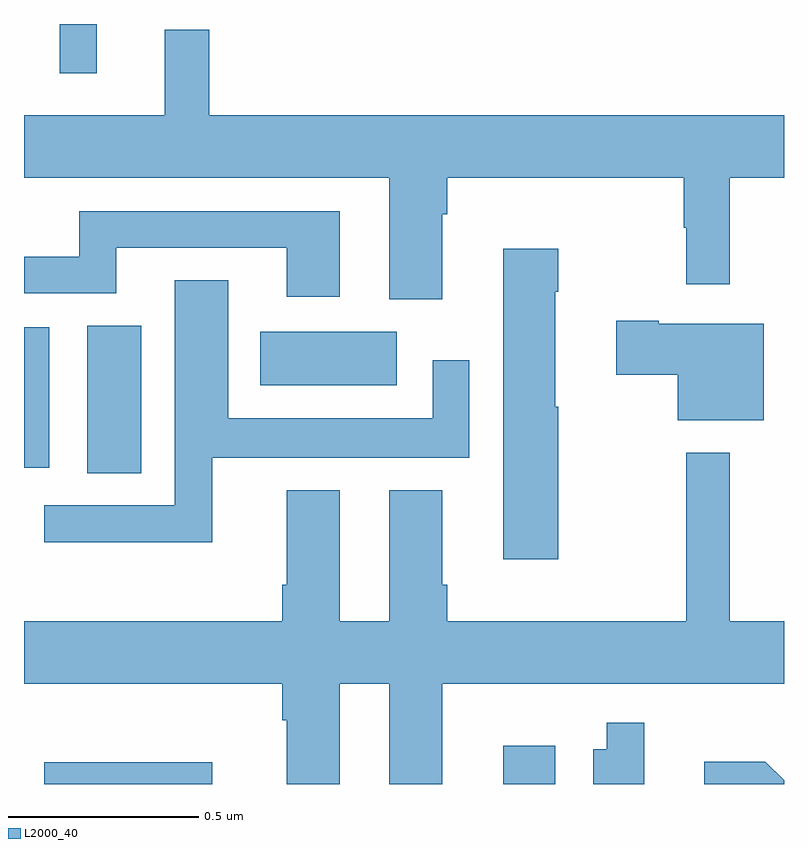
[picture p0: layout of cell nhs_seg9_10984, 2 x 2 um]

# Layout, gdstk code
import gdstk
lib = gdstk.Library(unit=1e-6, precision=1e-09)
def R(c, l, rs):  # rectangles x0, y0, x1, y1
    for r in rs: c.add(gdstk.rectangle(r[:2], r[2:], *l))
def P(c, l, *ps):  # polygons
    for p in ps: c.add(gdstk.Polygon(p, *l))
L2000_40 = (2000, 40)

nhs_seg9_10984 = lib.new_cell('nhs_seg9_10984')
R(nhs_seg9_10984, L2000_40, [(250.053,1185.5,250.496,1185.557), (251.261,1185.5,251.398,1185.601), (250.166,1186.318,250.309,1186.706), (250,1186.332,250.066,1186.702), (250.622,1186.55,250.981,1186.69), (250.094,1187.37,250.191,1187.5)])
P(nhs_seg9_10984, L2000_40, [(251.101,1187),(251.114,1187),(251.114,1187.096),(251.736,1187.096),(251.736,1186.964),(251.743,1186.964),(251.743,1186.815),(251.857,1186.815),(251.857,1187.096),(252,1187.096),(252,1187.26),(250.487,1187.26),(250.487,1187.485),(250.37,1187.485),(250.37,1187.26),(250,1187.26),(250,1187.096),(250.961,1187.096),(250.961,1186.776),(251.101,1186.776)],
  [(250.831,1187.007),(250.145,1187.007),(250.145,1186.887),(250,1186.887),(250,1186.791),(250.243,1186.791),(250.243,1186.911),(250.691,1186.911),(250.691,1186.782),(250.831,1186.782)],
  [(251.406,1186.493),(251.398,1186.493),(251.398,1186.796),(251.406,1186.796),(251.406,1186.909),(251.261,1186.909),(251.261,1186.092),(251.406,1186.092)],
  [(250.496,1186.358),(251.172,1186.358),(251.172,1186.615),(251.076,1186.615),(251.076,1186.462),(250.537,1186.462),(250.537,1186.826),(250.397,1186.826),(250.397,1186.233),(250.053,1186.233),(250.053,1186.136),(250.496,1186.136)],
  [(251.947,1186.711),(251.671,1186.711),(251.671,1186.719),(251.559,1186.719),(251.559,1186.577),(251.72,1186.577),(251.72,1186.457),(251.947,1186.457)],
  [(250.831,1185.764),(250.961,1185.764),(250.961,1185.5),(251.101,1185.5),(251.101,1185.764),(252,1185.764),(252,1185.928),(251.857,1185.928),(251.857,1186.372),(251.743,1186.372),(251.743,1185.928),(251.114,1185.928),(251.114,1186.024),(251.101,1186.024),(251.101,1186.273),(250.961,1186.273),(250.961,1185.928),(250.831,1185.928),(250.831,1186.273),(250.691,1186.273),(250.691,1186.024),(250.679,1186.024),(250.679,1185.928),(250,1185.928),(250,1185.764),(250.679,1185.764),(250.679,1185.668),(250.691,1185.668),(250.691,1185.5),(250.831,1185.5)],
  [(251.632,1185.661),(251.534,1185.661),(251.534,1185.592),(251.498,1185.592),(251.498,1185.5),(251.632,1185.5)],
  [(252,1185.51),(251.951,1185.559),(251.79,1185.559),(251.79,1185.5),(252,1185.5)])

lib.write_gds('nhs_seg9_10984.gds')
